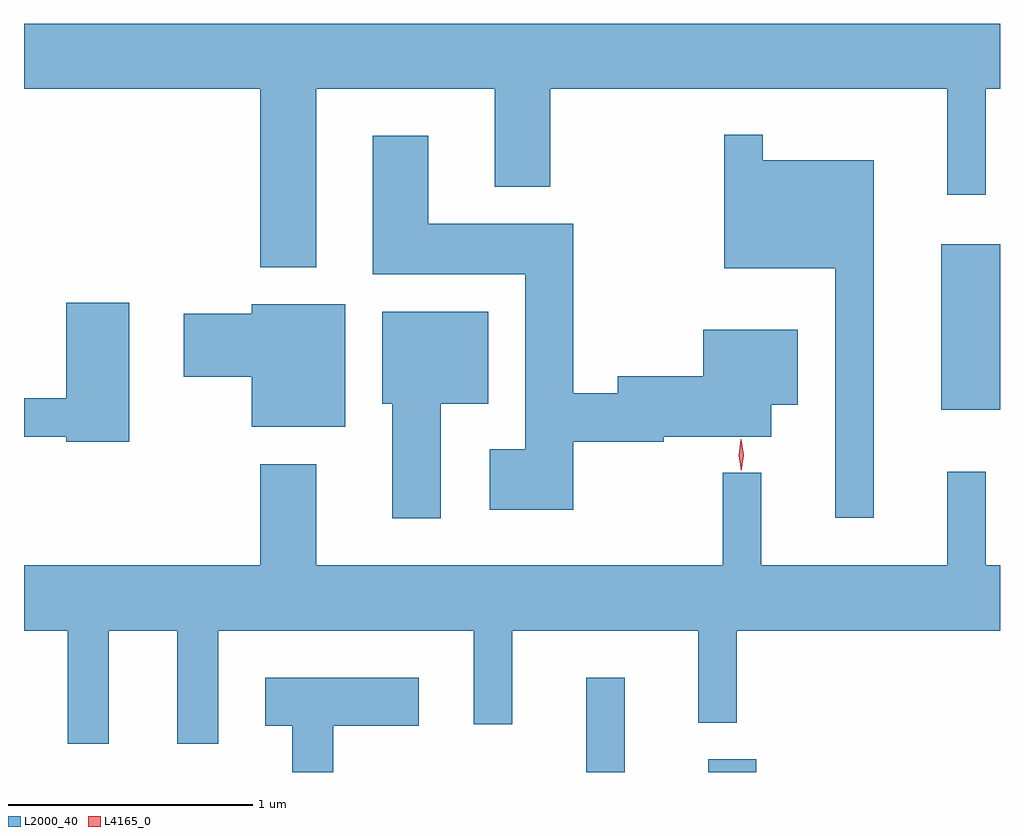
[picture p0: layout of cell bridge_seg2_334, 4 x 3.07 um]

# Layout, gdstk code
import gdstk
lib = gdstk.Library(unit=1e-6, precision=1e-09)
def R(c, l, rs):  # rectangles x0, y0, x1, y1
    for r in rs: c.add(gdstk.rectangle(r[:2], r[2:], *l))
def P(c, l, *ps):  # polygons
    for p in ps: c.add(gdstk.Polygon(p, *l))
L2000_40 = (2000, 40)
L4165_0 = (4165, 0)

bridge_seg2_334 = lib.new_cell('bridge_seg2_334')
R(bridge_seg2_334, L2000_40, [(419.046,983.355,419.204,983.743), (419.546,983.355,419.744,983.409), (420.501,984.841,420.742,985.519)])
P(bridge_seg2_334, L2000_40, [(417.939,986.156),(418.671,986.156),(418.671,985.756),(418.899,985.756),(418.899,986.156),(420.526,986.156),(420.526,985.723),(420.684,985.723),(420.684,986.156),(420.742,986.156),(420.742,986.424),(416.742,986.424),(416.742,986.156),(417.711,986.156),(417.711,985.426),(417.939,985.426)],
  [(420.224,985.864),(419.769,985.864),(419.769,985.968),(419.611,985.968),(419.611,985.421),(420.066,985.421),(420.066,984.398),(420.224,984.398)],
  [(418.994,984.711),(419.364,984.711),(419.364,984.731),(419.804,984.731),(419.804,984.861),(419.914,984.861),(419.914,985.169),(419.526,985.169),(419.526,984.979),(419.176,984.979),(419.176,984.909),(418.994,984.909),(418.994,985.604),(418.399,985.604),(418.399,985.964),(418.171,985.964),(418.171,985.396),(418.796,985.396),(418.796,984.679),(418.651,984.679),(418.651,984.431),(418.994,984.431)],
  [(417.174,985.279),(416.916,985.279),(416.916,984.889),(416.742,984.889),(416.742,984.731),(416.916,984.731),(416.916,984.711),(417.174,984.711)],
  [(418.059,985.274),(417.676,985.274),(417.676,985.234),(417.396,985.234),(417.396,984.976),(417.676,984.976),(417.676,984.771),(418.059,984.771)],
  [(418.449,984.866),(418.644,984.866),(418.644,985.244),(418.211,985.244),(418.211,984.866),(418.251,984.866),(418.251,984.396),(418.449,984.396)],
  [(417.089,983.936),(417.371,983.936),(417.371,983.473),(417.539,983.473),(417.539,983.936),(418.586,983.936),(418.586,983.553),(418.744,983.553),(418.744,983.936),(419.506,983.936),(419.506,983.558),(419.664,983.558),(419.664,983.936),(420.742,983.936),(420.742,984.204),(420.684,984.204),(420.684,984.588),(420.526,984.588),(420.526,984.204),(419.764,984.204),(419.764,984.583),(419.606,984.583),(419.606,984.204),(417.939,984.204),(417.939,984.619),(417.711,984.619),(417.711,984.204),(416.742,984.204),(416.742,983.936),(416.921,983.936),(416.921,983.473),(417.089,983.473)],
  [(418.009,983.546),(418.359,983.546),(418.359,983.744),(417.731,983.744),(417.731,983.546),(417.841,983.546),(417.841,983.355),(418.009,983.355)])
P(bridge_seg2_334, L4165_0, [(419.681,984.589),(419.671,984.655),(419.68,984.72),(419.68,984.721),(419.681,984.72),(419.691,984.655),(419.682,984.589),(419.682,984.589)])

lib.write_gds('bridge_seg2_334.gds')
